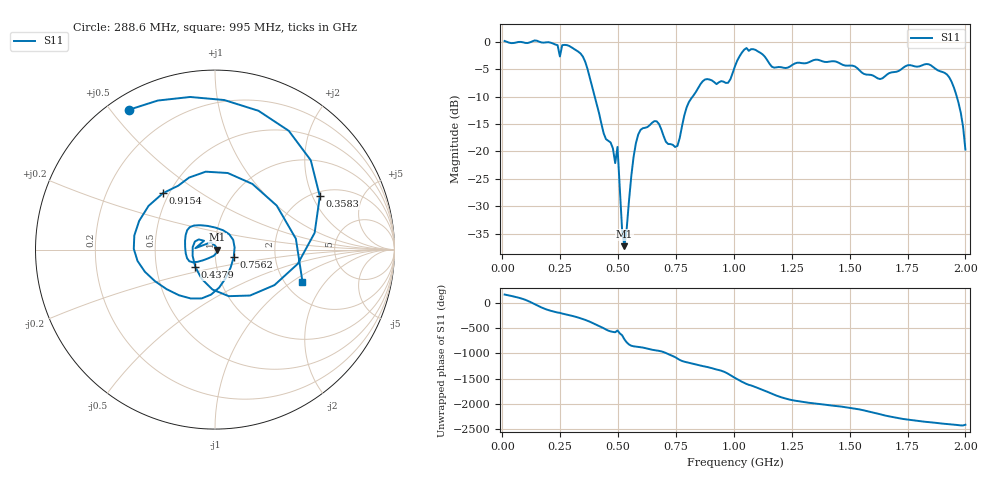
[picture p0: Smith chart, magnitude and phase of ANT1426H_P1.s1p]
!Created with skrf (http://scikit-rf.org).
# Hz S RI R 50.0
!freq ReS11 ImS11
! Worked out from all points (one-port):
!   201 points, 10 MHz to 2 GHz, reference 50 ohm
!   lowest |S11| = -37.3 dB at 527.4 MHz (marker M1), VSWR 1.03, Z = 51.4 + j0.0116 ohm
!   |S11| at or under -10 dB: 399.1 MHz to 822.1 MHz (423.1 MHz wide, 69.3 % of centre); 1.963 GHz to end of sweep
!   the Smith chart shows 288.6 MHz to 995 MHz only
!   S11 on the Smith chart (normalised r, x): 288.6 MHz: 0.06, +0.56; 358.2 MHz: 2.18, +2.27; 437.9 MHz: 0.79, -0.16; 756.2 MHz: 1.23, -0.10; 915.5 MHz: 0.46, +0.36; 995 MHz: 2.48, -1.22
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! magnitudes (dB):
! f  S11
! 10 MHz  0.1
! 209 MHz  -0.2
! 248.8 MHz  -2.7
! 258.8 MHz  -0.6
! 288.6 MHz  -0.8
! 358.2 MHz  -3.7
! 437.9 MHz  -16.7
! 487.6 MHz  -22.1
! 497.6 MHz  -19.2
! 507.5 MHz  -26.6
! 517.5 MHz  -34.3
! 527.4 MHz  -37.3
! 567.2 MHz  -20.9
! 597 MHz  -16.1
! 666.7 MHz  -14.5
! 756.2 MHz  -19.0
! 806 MHz  -11.0
! 915.5 MHz  -7.4
! 995 MHz  -5.7
! 1.005 GHz  -4.5
! 1.055 GHz  -1.2
! 1.254 GHz  -4.2
! 1.502 GHz  -4.3
! 1.632 GHz  -6.8
! 1.751 GHz  -4.3
! 1.93 GHz  -6.5
! 1.98 GHz  -13.0
! 2 GHz  -19.7
